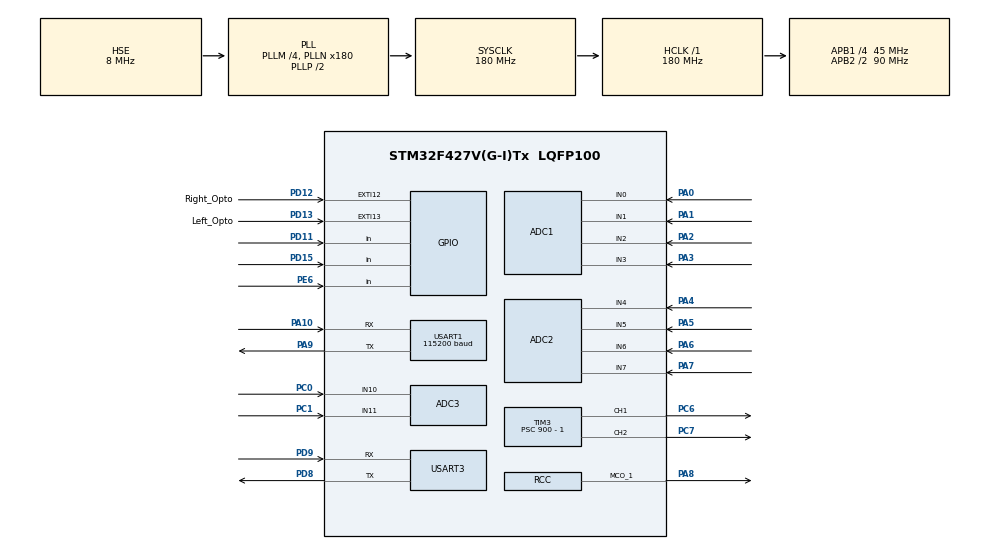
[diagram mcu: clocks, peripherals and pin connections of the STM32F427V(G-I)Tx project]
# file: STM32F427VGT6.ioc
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ADC1.Channel-0\#ChannelRegularConversion=ADC_CHANNEL_0
ADC1.Channel-5\#ChannelRegularConversion=ADC_CHANNEL_1
ADC1.Channel-6\#ChannelRegularConversion=ADC_CHANNEL_2
ADC1.Channel-7\#ChannelRegularConversion=ADC_CHANNEL_3
ADC1.ClockPrescaler=ADC_CLOCK_SYNC_PCLK_DIV8
ADC1.ContinuousConvMode=DISABLE
ADC1.DMAContinuousRequests=ENABLE
ADC1.DiscontinuousConvMode=DISABLE
ADC1.EOCSelection=ADC_EOC_SINGLE_CONV
ADC1.ExternalTrigConv=ADC_EXTERNALTRIGCONV_T8_TRGO
ADC1.InjNumberOfConversion=0
ADC1.NbrOfConversion=4
ADC1.NbrOfConversionFlag=1
ADC1.Rank-0\#ChannelRegularConversion=1
ADC1.Rank-5\#ChannelRegularConversion=2
ADC1.Rank-6\#ChannelRegularConversion=3
ADC1.Rank-7\#ChannelRegularConversion=4
ADC1.SamplingTime-0\#ChannelRegularConversion=ADC_SAMPLETIME_480CYCLES
ADC1.SamplingTime-5\#ChannelRegularConversion=ADC_SAMPLETIME_480CYCLES
ADC1.SamplingTime-6\#ChannelRegularConversion=ADC_SAMPLETIME_480CYCLES
ADC1.SamplingTime-7\#ChannelRegularConversion=ADC_SAMPLETIME_480CYCLES
ADC1.ScanConvMode=ENABLE
ADC1.master=1
ADC2.Channel-1\#ChannelRegularConversion=ADC_CHANNEL_4
ADC2.Channel-2\#ChannelRegularConversion=ADC_CHANNEL_5
ADC2.Channel-3\#ChannelRegularConversion=ADC_CHANNEL_6
ADC2.Channel-4\#ChannelRegularConversion=ADC_CHANNEL_7
ADC2.Channel-5\#ChannelInjectedConversion=ADC_CHANNEL_4
ADC2.ClockPrescaler=ADC_CLOCK_SYNC_PCLK_DIV8
ADC2.DMAContinuousRequests=ENABLE
ADC2.ExternalTrigConv=ADC_EXTERNALTRIGCONV_T8_TRGO
ADC2.InjNumberOfConversion=1
ADC2.InjectedOffset-5\#ChannelInjectedConversion=0
ADC2.InjectedRank-5\#ChannelInjectedConversion=1
ADC2.NbrOfConversion=4
ADC2.NbrOfConversionFlag=1
ADC2.Rank-1\#ChannelRegularConversion=1
ADC2.Rank-2\#ChannelRegularConversion=2
ADC2.Rank-3\#ChannelRegularConversion=3
ADC2.Rank-4\#ChannelRegularConversion=4
ADC2.SamplingTime-1\#ChannelRegularConversion=ADC_SAMPLETIME_480CYCLES
ADC2.SamplingTime-2\#ChannelRegularConversion=ADC_SAMPLETIME_480CYCLES
ADC2.SamplingTime-3\#ChannelRegularConversion=ADC_SAMPLETIME_480CYCLES
ADC2.SamplingTime-4\#ChannelRegularConversion=ADC_SAMPLETIME_480CYCLES
ADC2.SamplingTime-5\#ChannelInjectedConversion=ADC_SAMPLETIME_3CYCLES
ADC2.ScanConvMode=ENABLE
ADC3.Channel-0\#ChannelRegularConversion=ADC_CHANNEL_10
ADC3.ClockPrescaler=ADC_CLOCK_SYNC_PCLK_DIV8
ADC3.NbrOfConversionFlag=1
ADC3.Rank-0\#ChannelRegularConversion=1
ADC3.SamplingTime-0\#ChannelRegularConversion=ADC_SAMPLETIME_3CYCLES
Dma.ADC1.0.Direction=DMA_PERIPH_TO_MEMORY
Dma.ADC1.0.FIFOMode=DMA_FIFOMODE_DISABLE
Dma.ADC1.0.Instance=DMA2_Stream0
Dma.ADC1.0.MemDataAlignment=DMA_MDATAALIGN_HALFWORD
Dma.ADC1.0.MemInc=DMA_MINC_ENABLE
Dma.ADC1.0.Mode=DMA_CIRCULAR
Dma.ADC1.0.PeriphDataAlignment=DMA_PDATAALIGN_HALFWORD
Dma.ADC1.0.PeriphInc=DMA_PINC_DISABLE
Dma.ADC1.0.Priority=DMA_PRIORITY_HIGH
Dma.ADC2.1.Direction=DMA_PERIPH_TO_MEMORY
Dma.ADC2.1.FIFOMode=DMA_FIFOMODE_DISABLE
Dma.ADC2.1.Instance=DMA2_Stream2
Dma.ADC2.1.MemDataAlignment=DMA_MDATAALIGN_HALFWORD
Dma.ADC2.1.MemInc=DMA_MINC_ENABLE
Dma.ADC2.1.Mode=DMA_CIRCULAR
Dma.ADC2.1.PeriphDataAlignment=DMA_PDATAALIGN_HALFWORD
Dma.ADC2.1.PeriphInc=DMA_PINC_DISABLE
Dma.ADC2.1.Priority=DMA_PRIORITY_LOW
Dma.Request0=ADC1
Dma.Request1=ADC2
Dma.Request2=USART3_RX
Dma.USART3_RX.2.Direction=DMA_PERIPH_TO_MEMORY
Dma.USART3_RX.2.FIFOMode=DMA_FIFOMODE_DISABLE
Dma.USART3_RX.2.Instance=DMA1_Stream1
Dma.USART3_RX.2.MemDataAlignment=DMA_MDATAALIGN_BYTE
Dma.USART3_RX.2.MemInc=DMA_MINC_ENABLE
Dma.USART3_RX.2.Mode=DMA_CIRCULAR
Dma.USART3_RX.2.PeriphDataAlignment=DMA_PDATAALIGN_BYTE
Dma.USART3_RX.2.PeriphInc=DMA_PINC_DISABLE
Dma.USART3_RX.2.Priority=DMA_PRIORITY_LOW
Mcu.Family=STM32F4
Mcu.Name=STM32F427V(G-I)Tx
Mcu.Package=LQFP100
NVIC.ADC_IRQn=true\:0\:0\:false\:false\:true\:true\:true\:true
NVIC.DMA1_Stream1_IRQn=true\:0\:0\:false\:false\:true\:false\:true\:true
NVIC.DMA2_Stream0_IRQn=true\:0\:0\:false\:false\:true\:false\:true\:true
NVIC.DMA2_Stream2_IRQn=true\:0\:0\:false\:false\:true\:false\:true\:true
NVIC.EXTI15_10_IRQn=true\:0\:0\:false\:false\:true\:true\:true\:true
NVIC.PriorityGroup=NVIC_PRIORITYGROUP_4
NVIC.TIM8_TRG_COM_TIM14_IRQn=true\:1\:0\:true\:false\:true\:true\:true\:true
NVIC.TIM8_UP_TIM13_IRQn=true\:1\:0\:true\:false\:true\:true\:true\:true
NVIC.USART1_IRQn=true\:0\:0\:false\:false\:true\:true\:true\:true
NVIC.USART3_IRQn=true\:0\:0\:false\:false\:true\:true\:true\:true
PA0/WKUP.Signal=ADCx_IN0
PA1.Signal=ADCx_IN1
PA10.Mode=Asynchronous
PA10.Signal=USART1_RX
PA13.Mode=Serial_Wire
PA13.Signal=SYS_JTMS-SWDIO
PA14.Mode=Serial_Wire
PA14.Signal=SYS_JTCK-SWCLK
PA2.Signal=ADCx_IN2
PA3.Signal=ADCx_IN3
PA4.Signal=ADCx_IN4
PA5.Signal=ADCx_IN5
PA6.Signal=ADCx_IN6
PA7.Signal=ADCx_IN7
PA8.Mode=Clock-out-1
PA8.Signal=RCC_MCO_1
PA9.Mode=Asynchronous
PA9.Signal=USART1_TX
PB8.Signal=I2C1_SCL
PB9.Signal=I2C1_SDA
PC0.Signal=ADCx_IN10
PC1.Signal=ADCx_IN11
PC6.Signal=S_TIM3_CH1
PC7.Signal=S_TIM3_CH2
PD11.GPIO_PuPd=GPIO_PULLUP
PD11.Signal=GPIO_Input
PD12.GPIO_Label=Right_Opto
PD12.GPIO_ModeDefaultEXTI=GPIO_MODE_IT_FALLING
PD12.GPIO_PuPd=GPIO_PULLUP
PD12.Signal=GPXTI12
PD13.GPIO_Label=Left_Opto
PD13.GPIO_ModeDefaultEXTI=GPIO_MODE_IT_FALLING
PD13.GPIO_PuPd=GPIO_PULLUP
PD13.Signal=GPXTI13
PD15.GPIO_PuPd=GPIO_PULLUP
PD15.Signal=GPIO_Input
PD8.Mode=Asynchronous
PD8.Signal=USART3_TX
PD9.Mode=Asynchronous
PD9.Signal=USART3_RX
PE6.GPIO_PuPd=GPIO_NOPULL
PE6.Signal=GPIO_Input
PH0/OSC_IN.Mode=HSE-External-Oscillator
PH0/OSC_IN.Signal=RCC_OSC_IN
PH1/OSC_OUT.Mode=HSE-External-Oscillator
PH1/OSC_OUT.Signal=RCC_OSC_OUT
ProjectManager.HeapSize=0x800
ProjectManager.StackSize=0x800
ProjectManager.TargetToolchain=CMake
RCC.48MHZClocksFreq_Value=90000000
RCC.AHBFreq_Value=180000000
RCC.APB1CLKDivider=RCC_HCLK_DIV4
RCC.APB1Freq_Value=45000000
RCC.APB1TimFreq_Value=90000000
RCC.APB2CLKDivider=RCC_HCLK_DIV2
RCC.APB2Freq_Value=90000000
RCC.APB2TimFreq_Value=180000000
RCC.CortexFreq_Value=180000000
RCC.FLatency=FLASH_LATENCY_5
RCC.HCLKFreq_Value=180000000
RCC.HSE_VALUE=8000000
RCC.HSI_VALUE=16000000
RCC.LSE_VALUE=32768
RCC.PLLM=4
RCC.PLLN=180
RCC.PLLSourceVirtual=RCC_PLLSOURCE_HSE
RCC.PWR_Regulator_Voltage_Scale=PWR_REGULATOR_VOLTAGE_SCALE1
RCC.SYSCLKFreq_VALUE=180000000
RCC.SYSCLKSource=RCC_SYSCLKSOURCE_PLLCLK
RCC.VCOOutputFreq_Value=360000000
SH.ADCx_IN0.0=ADC1_IN0,IN0
SH.ADCx_IN1.0=ADC1_IN1,IN1
SH.ADCx_IN10.0=ADC3_IN10,IN10
SH.ADCx_IN11.0=ADC3_IN11,IN11
SH.ADCx_IN2.0=ADC1_IN2,IN2
SH.ADCx_IN3.0=ADC1_IN3,IN3
SH.ADCx_IN4.0=ADC2_IN4,IN4
SH.ADCx_IN5.0=ADC2_IN5,IN5
SH.ADCx_IN6.0=ADC2_IN6,IN6
SH.ADCx_IN7.0=ADC2_IN7,IN7
SH.S_TIM3_CH1.0=TIM3_CH1,PWM Generation1 CH1
SH.S_TIM3_CH2.0=TIM3_CH2,PWM Generation2 CH2
TIM3.Channel-PWM\ Generation1\ CH1=TIM_CHANNEL_1
TIM3.Channel-PWM\ Generation2\ CH2=TIM_CHANNEL_2
TIM3.Period=2000 - 1
TIM3.Prescaler=900 - 1
TIM8.Period=10000 - 1
TIM8.Prescaler=168 - 1
TIM8.TIM_MasterOutputTrigger=TIM_TRGO_UPDATE
USART1.BaudRate=115200
USART1.Mode=MODE_TX_RX
USART1.OverSampling=UART_OVERSAMPLING_16
USART1.Parity=PARITY_NONE
USART1.StopBits=STOPBITS_1
USART1.VirtualMode=VM_ASYNC
USART1.WordLength=WORDLENGTH_8B
USART3.VirtualMode=VM_ASYNC
VP_TIM8_VS_ClockSourceINT.Mode=Internal
board=custom

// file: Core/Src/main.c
/* USER CODE BEGIN Header */
/**
  ******************************************************************************
  * @file           : main.c
  * @brief          : Main program body
  ******************************************************************************
  * @attention
  *
  * Copyright (c) 2024 STMicroelectronics.
  * All rights reserved.
  *
  * This software is licensed under terms that can be found in the LICENSE file
  * in the root directory of this software component.
  * If no LICENSE file comes with this software, it is provided AS-IS.
  *
  ******************************************************************************
  */
/* USER CODE END Header */
#include "main.h"
#include "adc.h"
#include "dma.h"
#include "tim.h"
#include "usart.h"
#include "gpio.h"

/* USER CODE BEGIN Includes */
#include "BSP_USART.h"
#include "math.h"
#include "motor.h"
#include "sensor.h"
#include "edge.h"
#include "system.h"
#include "recover.h"
#include "camera.h"
/* USER CODE END Includes */

void SystemClock_Config(void);

int main(void)
{

  /* MCU Configuration--------------------------------------------------------*/

  /* Reset of all peripherals, Initializes the Flash interface and the Systick. */
  HAL_Init();

  /* Configure the system clock */
  SystemClock_Config();

  /* Initialize all configured peripherals */
  MX_GPIO_Init();
  MX_DMA_Init();
  MX_USART1_UART_Init();
  MX_ADC1_Init();
  MX_TIM3_Init();
  MX_TIM8_Init();
  MX_ADC2_Init();
  MX_ADC3_Init();
  MX_USART3_UART_Init();
  /* USER CODE BEGIN 2 */
	printf("Hello world!\r\n");
	HAL_UART_Receive_IT(&huart1, &rx1_buf, 1);
  UART3_Init();

	HAL_TIM_PWM_Start(&htim3,TIM_CHANNEL_1);
  HAL_TIM_PWM_Start(&htim3,TIM_CHANNEL_2);

	HAL_TIM_Base_Start_IT(&htim8);
	HAL_ADC_Start_DMA(&hadc1, (uint32_t*)adc_value_adc1, sizeof(adc_value_adc1)/sizeof(adc_value_adc1[0]));
	HAL_ADC_Start_DMA(&hadc2, (uint32_t*)adc_value_adc2, sizeof(adc_value_adc2)/sizeof(adc_value_adc2[0]));

	run(stop,0);//初始停止信号，有刷必须要有
	HAL_Delay(2000);
	recover_init();
  /* USER CODE END 2 */

  /* Infinite loop */
  /* USER CODE BEGIN WHILE */
  //uint8_t recover_used = 0;
  while (1)
	{
		system_update();
		// if(!recover_is_active())
    // {
    //     if(recover_detect_off_stage())
    //     {
    //         recover_start();
    //     }
    // }

    // if(recover_is_active())
    // {
    //     recover_update();
    //     continue;   // ❗强烈建议加
    // }
    // if(!recover_used && recover_detect_off_stage())
    // {
    //     recover_blocking();   // 执行一次
    //     recover_used = 1;     // ❗锁死，不再进入
    // }
		//run(go, 10);

		//输出
		printf("IN0: %.2f | IN1: %.2f | IN2: %.2f | IN3: %.2f | IN4: %.2f | IN5: %.2f | IN6: %.2f | IN7: %.2f\r\n",
            get_distance(0),
            get_distance(1),
            get_distance(2),
            get_distance(3),
						get_distance(4),
						get_distance(5),
            get_distance(6),
            get_distance(7));

		//HAL_Delay(10);

    /* USER CODE END WHILE */

  }
}

void SystemClock_Config(void)
{
  RCC_OscInitTypeDef RCC_OscInitStruct = {0};
  RCC_ClkInitTypeDef RCC_ClkInitStruct = {0};

  /** Configure the main internal regulator output voltage
  */
  __HAL_RCC_PWR_CLK_ENABLE();
  __HAL_PWR_VOLTAGESCALING_CONFIG(PWR_REGULATOR_VOLTAGE_SCALE1);

  /** Initializes the RCC Oscillators according to the specified parameters
  * in the RCC_OscInitTypeDef structure.
  */
  RCC_OscInitStruct.OscillatorType = RCC_OSCILLATORTYPE_HSI|RCC_OSCILLATORTYPE_HSE;
  RCC_OscInitStruct.HSEState = RCC_HSE_ON;
  RCC_OscInitStruct.HSIState = RCC_HSI_ON;
  RCC_OscInitStruct.HSICalibrationValue = RCC_HSICALIBRATION_DEFAULT;
  RCC_OscInitStruct.PLL.PLLState = RCC_PLL_ON;
  RCC_OscInitStruct.PLL.PLLSource = RCC_PLLSOURCE_HSE;
  RCC_OscInitStruct.PLL.PLLM = 4;
  RCC_OscInitStruct.PLL.PLLN = 180;
  RCC_OscInitStruct.PLL.PLLP = RCC_PLLP_DIV2;
  RCC_OscInitStruct.PLL.PLLQ = 4;
  if (HAL_RCC_OscConfig(&RCC_OscInitStruct) != HAL_OK)
  {
    Error_Handler();
  }

  /** Activate the Over-Drive mode
  */
  if (HAL_PWREx_EnableOverDrive() != HAL_OK)
  {
    Error_Handler();
  }

  /** Initializes the CPU, AHB and APB buses clocks
  */
  RCC_ClkInitStruct.ClockType = RCC_CLOCKTYPE_HCLK|RCC_CLOCKTYPE_SYSCLK
                              |RCC_CLOCKTYPE_PCLK1|RCC_CLOCKTYPE_PCLK2;
  RCC_ClkInitStruct.SYSCLKSource = RCC_SYSCLKSOURCE_PLLCLK;
  RCC_ClkInitStruct.AHBCLKDivider = RCC_SYSCLK_DIV1;
  RCC_ClkInitStruct.APB1CLKDivider = RCC_HCLK_DIV4;
  RCC_ClkInitStruct.APB2CLKDivider = RCC_HCLK_DIV2;

  if (HAL_RCC_ClockConfig(&RCC_ClkInitStruct, FLASH_LATENCY_5) != HAL_OK)
  {
    Error_Handler();
  }
  HAL_RCC_MCOConfig(RCC_MCO1, RCC_MCO1SOURCE_HSI, RCC_MCODIV_1);
}

/* USER CODE BEGIN 4 */
void HAL_TIM_PeriodElapsedCallback(TIM_HandleTypeDef *htim)    //定时器中断回调
{
    HAL_ADC_Start_IT(&hadc1); //定时器中断里面开启ADC中断转换，1ms开启一次采集
		HAL_ADC_Start_IT(&hadc2);
}

//void HAL_ADC_ConvCpltCallback(ADC_HandleTypeDef* hadc)    //ADC转换完成回调
//{
//    HAL_ADC_Stop_IT(&hadc1);	//关闭ADC
//    HAL_TIM_Base_Stop_IT(&htim4);	//关闭定时器
//    ADC_Value=HAL_ADC_GetValue(&hadc1);	//获取ADC转换的值

//    printf("ADC1 Reading : %d \r\n",ADC_Value);
//    printf("%.4f V\r\n",(ADC_Value*3.3/4096));	 //串口打印电压信息
//    HAL_TIM_Base_Start_IT(&htim4);	//开启定时器
//}

/* USER CODE END 4 */

void Error_Handler(void)
{
  __disable_irq();
  while (1)
  {
  }
}
